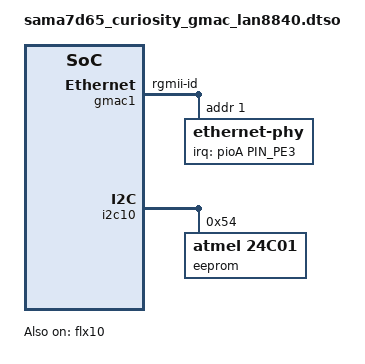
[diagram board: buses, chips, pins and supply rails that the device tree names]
// SPDX-License-Identifier: (GPL-2.0+ OR MIT)
/*
 *  Device Tree overlay for SAMA7D65-CURIOSITY board
 *  in order to use single-port Gigabit PHY EDS2 daughter card.
 *
 *  Copyright (c) 2025 Microchip Technology Inc. and its subsidiaries
 *
 *  Author: Jerry Ray <jerry.ray@microchip.com>
 *
 * Refer to the EV12N54A (LAN8840-EDS2 daughter card)
 *
 */
/dts-v1/;
/plugin/;
#include "sama7d65-pinfunc.h"
#include <dt-bindings/mfd/atmel-flexcom.h>
#include <dt-bindings/clock/at91.h>
#include <dt-bindings/pinctrl/at91.h>
#include <dt-bindings/gpio/gpio.h>
#include <dt-bindings/interrupt-controller/irq.h>

&{/}
{
	model = "Microchip SAMA7D65 Curiosity LAN8840";
};

&flx10 {
	atmel,flexcom-mode = <ATMEL_FLEXCOM_MODE_TWI>;
	status = "okay";
};

&gmac1 {
	#address-cells = <1>;
	#size-cells = <0>;
	phy-mode = "rgmii-id";
	status = "okay";

	ethernet-phy@1 {
		reg = <0x1>;
		interrupt-parent = <&pioA>;
		interrupts = <PIN_PE3 IRQ_TYPE_LEVEL_LOW>;
//		rxc-skew-psec = <800>;
		status = "okay";
	};
};

&i2c10 {
	#address-cells = <1>;
	#size-cells = <0>;
	dmas = <0>, <0>;
	status = "okay";

	eeprom@54 {
		compatible = "atmel,24c01";
		reg = <0x54>;
		pagesize = <8>;
		status = "okay";
	};
};
